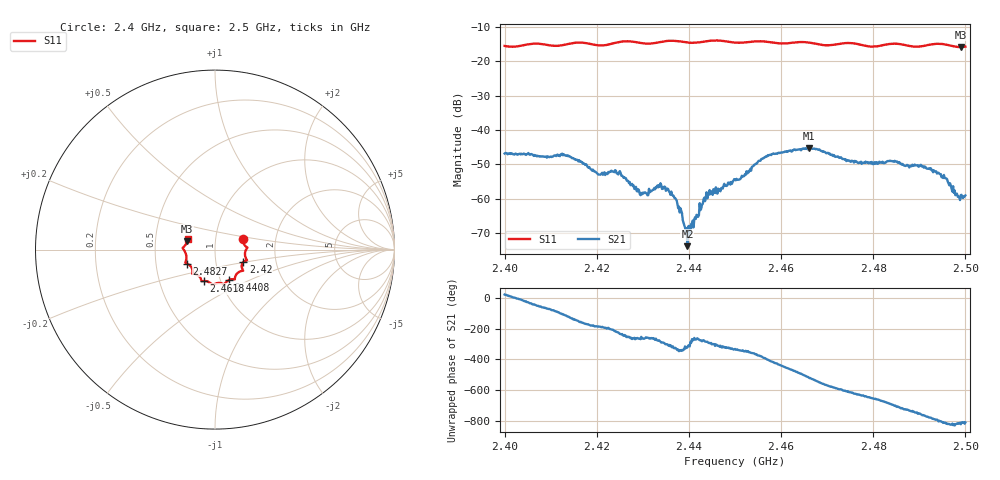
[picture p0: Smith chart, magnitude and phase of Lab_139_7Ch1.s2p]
# Hz S RI R 50
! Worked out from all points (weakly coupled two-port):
!   601 points, 2.4 GHz to 2.5 GHz, reference 50 ohm
!   highest |S21| = -45.27 dB at 2.466 GHz (marker M1); lowest = -73.8 dB at 2.4397 GHz (marker M2)
!   lowest |S11| = -15.8 dB at 2.499 GHz (marker M3), VSWR 1.39, Z = 36.5 + j3.52 ohm
!   |S11| at or under -10 dB: start of sweep to end of sweep
!   S12 and S22 are empty: the file has one direction only
!   S11 on the Smith chart (normalised r, x): 2.4 GHz: 1.36, +0.17; 2.42 GHz: 1.36, -0.19; 2.4408 GHz: 1.10, -0.39; 2.4618 GHz: 0.84, -0.30; 2.4827 GHz: 0.72, -0.12; 2.5 GHz: 0.73, +0.09
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2.4e9  0.1561 0.0618  0.00428 0.00155  0 0  0 0
2.412667e9  0.1686 -0.0378  -0.00124 -0.00412  0 0  0 0
2.416667e9  0.1782 -0.0594  -0.00323 -0.00115  0 0  0 0
2.42e9  0.1578 -0.0694  -0.00235 0.000263  0 0  0 0
2.4245e9  0.1536 -0.1111  -0.00169 0.00166  0 0  0 0
2.429833e9  0.1368 -0.1229  -0.000129 0.00116  0 0  0 0
2.433333e9  0.1118 -0.1521  0.000198 0.00145  0 0  0 0
2.436667e9  0.1097 -0.1666  0.000913 0.000631  0 0  0 0
2.439667e9  0.0907 -0.165  0.000162 0.000124  0 0  0 0
2.440833e9  0.0788 -0.169  5.92e-05 0.000479  0 0  0 0
2.444333e9  0.055 -0.191  0.000464 0.00105  0 0  0 0
2.45e9  0.0278 -0.1859  0.00169 0.000892  0 0  0 0
2.456833e9  -0.0176 -0.1926  0.00334 -0.00253  0 0  0 0
2.461833e9  -0.0602 -0.1751  -0.00105 -0.00491  0 0  0 0
2.466e9  -0.076 -0.172  -0.005 -0.00217  0 0  0 0
2.466667e9  -0.0768 -0.1684  -0.00523 -0.00129  0 0  0 0
2.474667e9  -0.1265 -0.1352  -0.00121 0.00341  0 0  0 0
2.482667e9  -0.1571 -0.0778  0.0024 0.00235  0 0  0 0
2.483333e9  -0.1612 -0.0763  0.00283 0.00211  0 0  0 0
2.493667e9  -0.1802 0.00723  0.000891 -0.00235  0 0  0 0
2.499e9  -0.1545 0.047  -0.000173 -0.00112  0 0  0 0
2.5e9  -0.1519 0.0616  5.44e-05 -0.00112  0 0  0 0
